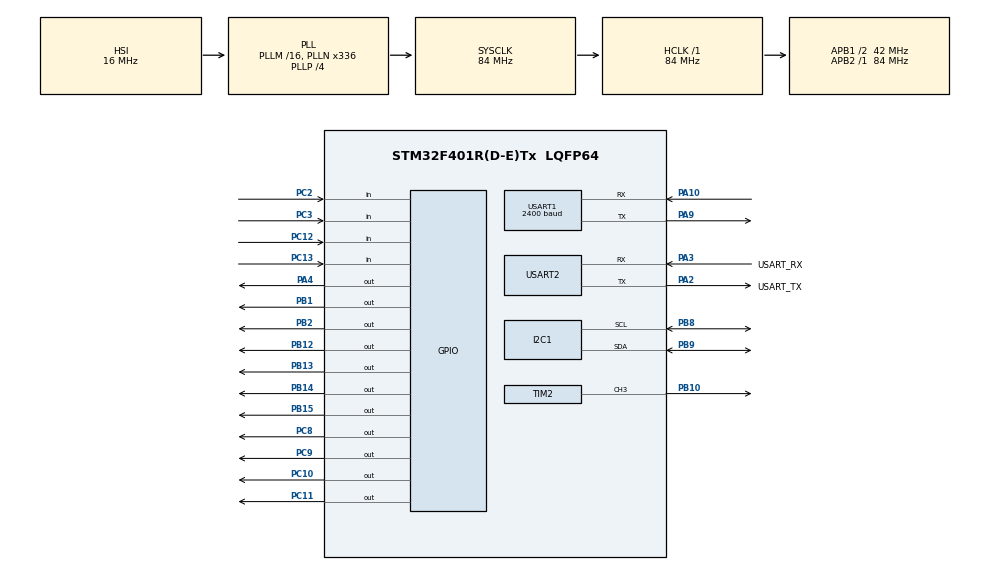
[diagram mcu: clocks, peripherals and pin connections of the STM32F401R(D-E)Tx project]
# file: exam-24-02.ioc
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Dma.I2C1_RX.1.Direction=DMA_PERIPH_TO_MEMORY
Dma.I2C1_RX.1.FIFOMode=DMA_FIFOMODE_DISABLE
Dma.I2C1_RX.1.Instance=DMA1_Stream0
Dma.I2C1_RX.1.MemDataAlignment=DMA_MDATAALIGN_BYTE
Dma.I2C1_RX.1.MemInc=DMA_MINC_ENABLE
Dma.I2C1_RX.1.Mode=DMA_NORMAL
Dma.I2C1_RX.1.PeriphDataAlignment=DMA_PDATAALIGN_BYTE
Dma.I2C1_RX.1.PeriphInc=DMA_PINC_DISABLE
Dma.I2C1_RX.1.Priority=DMA_PRIORITY_LOW
Dma.Request0=USART2_TX
Dma.Request1=I2C1_RX
Dma.USART2_TX.0.Direction=DMA_MEMORY_TO_PERIPH
Dma.USART2_TX.0.FIFOMode=DMA_FIFOMODE_DISABLE
Dma.USART2_TX.0.Instance=DMA1_Stream6
Dma.USART2_TX.0.MemDataAlignment=DMA_MDATAALIGN_BYTE
Dma.USART2_TX.0.MemInc=DMA_MINC_ENABLE
Dma.USART2_TX.0.Mode=DMA_NORMAL
Dma.USART2_TX.0.PeriphDataAlignment=DMA_PDATAALIGN_BYTE
Dma.USART2_TX.0.PeriphInc=DMA_PINC_DISABLE
Dma.USART2_TX.0.Priority=DMA_PRIORITY_LOW
Mcu.Family=STM32F4
Mcu.Name=STM32F401R(D-E)Tx
Mcu.Package=LQFP64
NVIC.DMA1_Stream0_IRQn=true\:0\:0\:false\:false\:true\:false\:true
NVIC.DMA1_Stream6_IRQn=true\:0\:0\:false\:false\:true\:false\:true
NVIC.I2C1_EV_IRQn=true\:0\:0\:true\:false\:true\:true\:true
NVIC.PriorityGroup=NVIC_PRIORITYGROUP_1
NVIC.TIM1_BRK_TIM9_IRQn=true\:0\:0\:false\:false\:true\:true\:true
NVIC.TIM1_TRG_COM_TIM11_IRQn=true\:0\:0\:false\:false\:true\:true\:true
NVIC.TIM1_UP_TIM10_IRQn=true\:0\:0\:false\:false\:true\:true\:true
NVIC.TIM2_IRQn=true\:0\:0\:false\:false\:true\:true\:true
NVIC.USART1_IRQn=true\:1\:0\:true\:false\:true\:true\:true
NVIC.USART2_IRQn=true\:0\:0\:false\:false\:true\:true\:true
PA10.Mode=Asynchronous
PA10.Signal=USART1_RX
PA13.GPIO_Label=TMS
PA13.Mode=Serial_Wire
PA13.Signal=SYS_JTMS-SWDIO
PA14.GPIO_Label=TCK
PA14.Mode=Serial_Wire
PA14.Signal=SYS_JTCK-SWCLK
PA2.GPIO_Label=USART_TX
PA2.GPIO_Mode=GPIO_MODE_AF_PP
PA2.GPIO_PuPd=GPIO_NOPULL
PA2.GPIO_Speed=GPIO_SPEED_FREQ_LOW
PA2.Mode=Asynchronous
PA2.Signal=USART2_TX
PA3.GPIO_Label=USART_RX
PA3.GPIO_Mode=GPIO_MODE_AF_PP
PA3.GPIO_PuPd=GPIO_NOPULL
PA3.GPIO_Speed=GPIO_SPEED_FREQ_LOW
PA3.Mode=Asynchronous
PA3.Signal=USART2_RX
PA4.Signal=GPIO_Output
PA9.Mode=Asynchronous
PA9.Signal=USART1_TX
PB1.Signal=GPIO_Output
PB10.Signal=S_TIM2_CH3
PB12.Signal=GPIO_Output
PB13.Signal=GPIO_Output
PB14.Signal=GPIO_Output
PB15.Signal=GPIO_Output
PB2.Signal=GPIO_Output
PB8.Mode=I2C
PB8.Signal=I2C1_SCL
PB9.Mode=I2C
PB9.Signal=I2C1_SDA
PC10.Signal=GPIO_Output
PC11.Signal=GPIO_Output
PC12.Signal=GPIO_Input
PC13-ANTI_TAMP.Signal=GPIO_Input
PC14-OSC32_IN.Mode=LSE-External-Oscillator
PC14-OSC32_IN.Signal=RCC_OSC32_IN
PC15-OSC32_OUT.Mode=LSE-External-Oscillator
PC15-OSC32_OUT.Signal=RCC_OSC32_OUT
PC2.Signal=GPIO_Input
PC3.Signal=GPIO_Input
PC8.Signal=GPIO_Output
PC9.Signal=GPIO_Output
PH0\ -\ OSC_IN.Mode=HSE-External-Clock-Source
PH0\ -\ OSC_IN.Signal=RCC_OSC_IN
PH1\ -\ OSC_OUT.Mode=HSE-External-Clock-Source
PH1\ -\ OSC_OUT.Signal=RCC_OSC_OUT
ProjectManager.HeapSize=0x200
ProjectManager.StackSize=0x400
ProjectManager.TargetToolchain=STM32CubeIDE
RCC.48MHZClocksFreq_Value=48000000
RCC.AHBFreq_Value=84000000
RCC.APB1CLKDivider=RCC_HCLK_DIV2
RCC.APB1Freq_Value=42000000
RCC.APB1TimFreq_Value=84000000
RCC.APB2Freq_Value=84000000
RCC.APB2TimFreq_Value=84000000
RCC.CortexFreq_Value=84000000
RCC.HCLKFreq_Value=84000000
RCC.HSE_VALUE=8000000
RCC.HSI_VALUE=16000000
RCC.PLLN=336
RCC.PLLP=RCC_PLLP_DIV4
RCC.PLLQ=7
RCC.SYSCLKFreq_VALUE=84000000
RCC.SYSCLKSource=RCC_SYSCLKSOURCE_PLLCLK
RCC.VCOOutputFreq_Value=336000000
SH.S_TIM2_CH3.0=TIM2_CH3,PWM Generation3 CH3
TIM1.Period=42000
TIM1.Prescaler=1000
TIM11.Period=1000-1
TIM11.Prescaler=35-1
TIM2.Channel-PWM\ Generation3\ CH3=TIM_CHANNEL_3
TIM2.Period=220-1
TIM2.Prescaler=10-1
TIM2.Pulse-PWM\ Generation3\ CH3=110
USART1.BaudRate=2400
USART1.VirtualMode=VM_ASYNC
USART2.VirtualMode=VM_ASYNC
VP_TIM11_VS_ClockSourceINT.Mode=Enable_Timer
VP_TIM1_VS_ClockSourceINT.Mode=Internal
VP_TIM2_VS_ClockSourceINT.Mode=Internal
board=NUCLEO-F401RE

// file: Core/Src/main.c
/* USER CODE BEGIN Header */
/**
 ******************************************************************************
 * @file           : main.c
 * @brief          : Main program body
 ******************************************************************************
 * @attention
 *
 * <h2><center>&copy; Copyright (c) 2021 STMicroelectronics.
 * All rights reserved.</center></h2>
 *
 * This software component is licensed by ST under BSD 3-Clause license,
 * the "License"; You may not use this file except in compliance with the
 * License. You may obtain a copy of the License at:
 *                        opensource.org/licenses/BSD-3-Clause
 *
 ******************************************************************************
 */
/* USER CODE END Header */
#include "main.h"

/* USER CODE BEGIN Includes */
#include "PMDB16_LCD.h"
/* USER CODE END Includes */

I2C_HandleTypeDef hi2c1;
DMA_HandleTypeDef hdma_i2c1_rx;

TIM_HandleTypeDef htim1;
TIM_HandleTypeDef htim2;
TIM_HandleTypeDef htim11;

UART_HandleTypeDef huart1;
UART_HandleTypeDef huart2;
DMA_HandleTypeDef hdma_usart2_tx;

/* USER CODE BEGIN PV */
char rcvd_str[64];
uint8_t tempAddr = 0b1001000 << 1;
uint8_t dataReg = 0x00; // register of the MSB of the data
uint8_t dataBuff[2]; // buffer for the temperature read
int dataToBeSent = 0;
float tempRecv;
float tempSampled;

//// TRANSMITTER PART
int iBit = 9; // starting in "don't send anything" mode
uint8_t byteToSend;
uint8_t sending = 0;

//// RECEIVER PART
char data;
/* USER CODE END PV */

void SystemClock_Config(void);
static void MX_GPIO_Init(void);
static void MX_USART2_UART_Init(void);
static void MX_TIM2_Init(void);
static void MX_TIM11_Init(void);
static void MX_USART1_UART_Init(void);
static void MX_DMA_Init(void);
static void MX_I2C1_Init(void);
static void MX_TIM1_Init(void);
/* USER CODE BEGIN PFP */

//// TRANSCEIVER
void sendString(char *str);
void sendByte(uint8_t byte);

HAL_StatusTypeDef sampleDMA(uint8_t *buf);
void sendSampleDMA(float temperature);

float convertToFloat(int8_t msb, uint8_t lsb);

/* USER CODE END PFP */

int main(void) {

	/* MCU Configuration--------------------------------------------------------*/

	/* Reset of all peripherals, Initializes the Flash interface and the Systick. */
	HAL_Init();

	/* Configure the system clock */
	SystemClock_Config();

	/* USER CODE BEGIN SysInit */
	MX_DMA_Init();
	/* USER CODE END SysInit */

	/* Initialize all configured peripherals */
	MX_GPIO_Init();
	MX_USART2_UART_Init();
	MX_TIM2_Init();
	MX_TIM11_Init();
	MX_USART1_UART_Init();
	MX_DMA_Init();
	MX_I2C1_Init();
	MX_TIM1_Init();
	/* USER CODE BEGIN 2 */
	// Tx: Starting the timer in order to send the data at the given baudrate
	HAL_TIM_Base_Start_IT(&htim11);

	//// Accelerometer: start timer to sample sensor
	HAL_TIM_Base_Start_IT(&htim1);

	HAL_UART_Receive_IT(&huart1, &tempRecv, sizeof(float));

	/* USER CODE END 2 */

	/* Infinite loop */
	/* USER CODE BEGIN WHILE */
	// LCD
	lcd_initialize();
	lcd_backlight_ON();

	while (1) {
		// scans all the keyboard
		//scanKeyboard();
		if (dataToBeSent) {
			sendSampleDMA(tempSampled);
			dataToBeSent = 0;
		}
		/* USER CODE END WHILE */

	}
}

void SystemClock_Config(void) {
	RCC_OscInitTypeDef RCC_OscInitStruct = { 0 };
	RCC_ClkInitTypeDef RCC_ClkInitStruct = { 0 };

	/** Configure the main internal regulator output voltage
	 */
	__HAL_RCC_PWR_CLK_ENABLE();
	__HAL_PWR_VOLTAGESCALING_CONFIG(PWR_REGULATOR_VOLTAGE_SCALE2);
	/** Initializes the RCC Oscillators according to the specified parameters
	 * in the RCC_OscInitTypeDef structure.
	 */
	RCC_OscInitStruct.OscillatorType = RCC_OSCILLATORTYPE_HSI;
	RCC_OscInitStruct.HSIState = RCC_HSI_ON;
	RCC_OscInitStruct.HSICalibrationValue = RCC_HSICALIBRATION_DEFAULT;
	RCC_OscInitStruct.PLL.PLLState = RCC_PLL_ON;
	RCC_OscInitStruct.PLL.PLLSource = RCC_PLLSOURCE_HSI;
	RCC_OscInitStruct.PLL.PLLM = 16;
	RCC_OscInitStruct.PLL.PLLN = 336;
	RCC_OscInitStruct.PLL.PLLP = RCC_PLLP_DIV4;
	RCC_OscInitStruct.PLL.PLLQ = 7;
	if (HAL_RCC_OscConfig(&RCC_OscInitStruct) != HAL_OK) {
		Error_Handler();
	}
	/** Initializes the CPU, AHB and APB buses clocks
	 */
	RCC_ClkInitStruct.ClockType = RCC_CLOCKTYPE_HCLK | RCC_CLOCKTYPE_SYSCLK
			| RCC_CLOCKTYPE_PCLK1 | RCC_CLOCKTYPE_PCLK2;
	RCC_ClkInitStruct.SYSCLKSource = RCC_SYSCLKSOURCE_PLLCLK;
	RCC_ClkInitStruct.AHBCLKDivider = RCC_SYSCLK_DIV1;
	RCC_ClkInitStruct.APB1CLKDivider = RCC_HCLK_DIV2;
	RCC_ClkInitStruct.APB2CLKDivider = RCC_HCLK_DIV1;

	if (HAL_RCC_ClockConfig(&RCC_ClkInitStruct, FLASH_LATENCY_2) != HAL_OK) {
		Error_Handler();
	}
}

static void MX_I2C1_Init(void) {

	hi2c1.Instance = I2C1;
	hi2c1.Init.ClockSpeed = 100000;
	hi2c1.Init.DutyCycle = I2C_DUTYCYCLE_2;
	hi2c1.Init.OwnAddress1 = 0;
	hi2c1.Init.AddressingMode = I2C_ADDRESSINGMODE_7BIT;
	hi2c1.Init.DualAddressMode = I2C_DUALADDRESS_DISABLE;
	hi2c1.Init.OwnAddress2 = 0;
	hi2c1.Init.GeneralCallMode = I2C_GENERALCALL_DISABLE;
	hi2c1.Init.NoStretchMode = I2C_NOSTRETCH_DISABLE;
	if (HAL_I2C_Init(&hi2c1) != HAL_OK) {
		Error_Handler();
	}

}

static void MX_TIM1_Init(void) {

	TIM_ClockConfigTypeDef sClockSourceConfig = { 0 };
	TIM_MasterConfigTypeDef sMasterConfig = { 0 };

	htim1.Instance = TIM1;
	htim1.Init.Prescaler = 1000;
	htim1.Init.CounterMode = TIM_COUNTERMODE_UP;
	htim1.Init.Period = 42000;
	htim1.Init.ClockDivision = TIM_CLOCKDIVISION_DIV1;
	htim1.Init.RepetitionCounter = 0;
	htim1.Init.AutoReloadPreload = TIM_AUTORELOAD_PRELOAD_DISABLE;
	if (HAL_TIM_Base_Init(&htim1) != HAL_OK) {
		Error_Handler();
	}
	sClockSourceConfig.ClockSource = TIM_CLOCKSOURCE_INTERNAL;
	if (HAL_TIM_ConfigClockSource(&htim1, &sClockSourceConfig) != HAL_OK) {
		Error_Handler();
	}
	sMasterConfig.MasterOutputTrigger = TIM_TRGO_RESET;
	sMasterConfig.MasterSlaveMode = TIM_MASTERSLAVEMODE_DISABLE;
	if (HAL_TIMEx_MasterConfigSynchronization(&htim1, &sMasterConfig)
			!= HAL_OK) {
		Error_Handler();
	}

}

static void MX_TIM2_Init(void) {

	TIM_ClockConfigTypeDef sClockSourceConfig = { 0 };
	TIM_MasterConfigTypeDef sMasterConfig = { 0 };
	TIM_OC_InitTypeDef sConfigOC = { 0 };

	htim2.Instance = TIM2;
	htim2.Init.Prescaler = 10 - 1;
	htim2.Init.CounterMode = TIM_COUNTERMODE_UP;
	htim2.Init.Period = 220 - 1;
	htim2.Init.ClockDivision = TIM_CLOCKDIVISION_DIV1;
	htim2.Init.AutoReloadPreload = TIM_AUTORELOAD_PRELOAD_DISABLE;
	if (HAL_TIM_Base_Init(&htim2) != HAL_OK) {
		Error_Handler();
	}
	sClockSourceConfig.ClockSource = TIM_CLOCKSOURCE_INTERNAL;
	if (HAL_TIM_ConfigClockSource(&htim2, &sClockSourceConfig) != HAL_OK) {
		Error_Handler();
	}
	if (HAL_TIM_PWM_Init(&htim2) != HAL_OK) {
		Error_Handler();
	}
	sMasterConfig.MasterOutputTrigger = TIM_TRGO_RESET;
	sMasterConfig.MasterSlaveMode = TIM_MASTERSLAVEMODE_DISABLE;
	if (HAL_TIMEx_MasterConfigSynchronization(&htim2, &sMasterConfig)
			!= HAL_OK) {
		Error_Handler();
	}
	sConfigOC.OCMode = TIM_OCMODE_PWM1;
	sConfigOC.Pulse = 110;
	sConfigOC.OCPolarity = TIM_OCPOLARITY_HIGH;
	sConfigOC.OCFastMode = TIM_OCFAST_DISABLE;
	if (HAL_TIM_PWM_ConfigChannel(&htim2, &sConfigOC, TIM_CHANNEL_3)
			!= HAL_OK) {
		Error_Handler();
	}
	HAL_TIM_MspPostInit(&htim2);

}

static void MX_TIM11_Init(void) {

	htim11.Instance = TIM11;
	htim11.Init.Prescaler = 35 - 1;
	htim11.Init.CounterMode = TIM_COUNTERMODE_UP;
	htim11.Init.Period = 1000 - 1;
	htim11.Init.ClockDivision = TIM_CLOCKDIVISION_DIV1;
	htim11.Init.AutoReloadPreload = TIM_AUTORELOAD_PRELOAD_DISABLE;
	if (HAL_TIM_Base_Init(&htim11) != HAL_OK) {
		Error_Handler();
	}

}

static void MX_USART1_UART_Init(void) {

	huart1.Instance = USART1;
	huart1.Init.BaudRate = 2400;
	huart1.Init.WordLength = UART_WORDLENGTH_8B;
	huart1.Init.StopBits = UART_STOPBITS_1;
	huart1.Init.Parity = UART_PARITY_NONE;
	huart1.Init.Mode = UART_MODE_TX_RX;
	huart1.Init.HwFlowCtl = UART_HWCONTROL_NONE;
	huart1.Init.OverSampling = UART_OVERSAMPLING_16;
	if (HAL_UART_Init(&huart1) != HAL_OK) {
		Error_Handler();
	}

}

static void MX_USART2_UART_Init(void) {

	huart2.Instance = USART2;
	huart2.Init.BaudRate = 115200;
	huart2.Init.WordLength = UART_WORDLENGTH_8B;
	huart2.Init.StopBits = UART_STOPBITS_1;
	huart2.Init.Parity = UART_PARITY_NONE;
	huart2.Init.Mode = UART_MODE_TX_RX;
	huart2.Init.HwFlowCtl = UART_HWCONTROL_NONE;
	huart2.Init.OverSampling = UART_OVERSAMPLING_16;
	if (HAL_UART_Init(&huart2) != HAL_OK) {
		Error_Handler();
	}

}

static void MX_DMA_Init(void) {

	/* DMA controller clock enable */
	__HAL_RCC_DMA1_CLK_ENABLE();

	/* DMA interrupt init */
	/* DMA1_Stream0_IRQn interrupt configuration */
	HAL_NVIC_SetPriority(DMA1_Stream0_IRQn, 0, 0);
	HAL_NVIC_EnableIRQ(DMA1_Stream0_IRQn);
	/* DMA1_Stream6_IRQn interrupt configuration */
	HAL_NVIC_SetPriority(DMA1_Stream6_IRQn, 0, 0);
	HAL_NVIC_EnableIRQ(DMA1_Stream6_IRQn);

}

static void MX_GPIO_Init(void) {
	GPIO_InitTypeDef GPIO_InitStruct = { 0 };

	/* GPIO Ports Clock Enable */
	__HAL_RCC_GPIOC_CLK_ENABLE();
	__HAL_RCC_GPIOH_CLK_ENABLE();
	__HAL_RCC_GPIOA_CLK_ENABLE();
	__HAL_RCC_GPIOB_CLK_ENABLE();

	/*Configure GPIO pin Output Level */
	HAL_GPIO_WritePin(GPIOA, GPIO_PIN_4, GPIO_PIN_RESET);

	/*Configure GPIO pin Output Level */
	HAL_GPIO_WritePin(GPIOB,
			GPIO_PIN_1 | GPIO_PIN_2 | GPIO_PIN_12 | GPIO_PIN_13 | GPIO_PIN_14
					| GPIO_PIN_15, GPIO_PIN_RESET);

	/*Configure GPIO pin Output Level */
	HAL_GPIO_WritePin(GPIOC,
			GPIO_PIN_8 | GPIO_PIN_9 | GPIO_PIN_10 | GPIO_PIN_11,
			GPIO_PIN_RESET);

	/*Configure GPIO pins : PC13 PC2 PC3 PC12 */
	GPIO_InitStruct.Pin = GPIO_PIN_13 | GPIO_PIN_2 | GPIO_PIN_3 | GPIO_PIN_12;
	GPIO_InitStruct.Mode = GPIO_MODE_INPUT;
	GPIO_InitStruct.Pull = GPIO_NOPULL;
	HAL_GPIO_Init(GPIOC, &GPIO_InitStruct);

	/*Configure GPIO pin : PA4 */
	GPIO_InitStruct.Pin = GPIO_PIN_4;
	GPIO_InitStruct.Mode = GPIO_MODE_OUTPUT_PP;
	GPIO_InitStruct.Pull = GPIO_NOPULL;
	GPIO_InitStruct.Speed = GPIO_SPEED_FREQ_LOW;
	HAL_GPIO_Init(GPIOA, &GPIO_InitStruct);

	/*Configure GPIO pins : PB1 PB2 PB12 PB13
	 PB14 PB15 */
	GPIO_InitStruct.Pin = GPIO_PIN_1 | GPIO_PIN_2 | GPIO_PIN_12 | GPIO_PIN_13
			| GPIO_PIN_14 | GPIO_PIN_15;
	GPIO_InitStruct.Mode = GPIO_MODE_OUTPUT_PP;
	GPIO_InitStruct.Pull = GPIO_NOPULL;
	GPIO_InitStruct.Speed = GPIO_SPEED_FREQ_LOW;
	HAL_GPIO_Init(GPIOB, &GPIO_InitStruct);

	/*Configure GPIO pins : PC8 PC9 PC10 PC11 */
	GPIO_InitStruct.Pin = GPIO_PIN_8 | GPIO_PIN_9 | GPIO_PIN_10 | GPIO_PIN_11;
	GPIO_InitStruct.Mode = GPIO_MODE_OUTPUT_PP;
	GPIO_InitStruct.Pull = GPIO_NOPULL;
	GPIO_InitStruct.Speed = GPIO_SPEED_FREQ_LOW;
	HAL_GPIO_Init(GPIOC, &GPIO_InitStruct);

}

/* USER CODE BEGIN 4 */
/**
 * @brief Tx: calls the sendByte function for each char of the string
 */
void sendString(char *str) {
	for (int i = 0; i < strlen(str); i++) {
		sendByte(str[i]);
	}
}

/**
 * @brief Tx: waits until the previous byte is sent;
 * then sets the new byte to send, resets the index to read the bit and
 * sets the flag "sending" to true
 */
void sendByte(uint8_t byte) {
	// wait to finish the sending of the previous byte (in callback of TIM11)
	while (sending)
		;

	// set next byte to send and "start" the sending
	byteToSend = byte;
	iBit = -1;
	sending = 1;
}

/**
 * @brief implements the UART protocol:
 * - sends the start bit (modulates);
 * - for each bit, if it is low modulates, otherwise led stays down;
 * - sends the stop bit (led stays down);
 * - at the next cycle resets the "sending" flag;
 */
void HAL_TIM_PeriodElapsedCallback(TIM_HandleTypeDef *htim) {
	if (htim == &htim11) {
		// Implementing the UART protocol
		if (iBit == -1) {
			// START BIT
			HAL_TIM_PWM_Start(&htim2, TIM_CHANNEL_3);
		} else if (iBit < 8) {
			// SENDING BYTE
			if (byteToSend & (1 << iBit)) {
				// if bit is 1, do not modulate [stay on zero]
				HAL_TIM_PWM_Stop(&htim2, TIM_CHANNEL_3);
			} else {
				// if bit is 0, modulate
				HAL_TIM_PWM_Start(&htim2, TIM_CHANNEL_3);
			}
		} else if (iBit == 8) {
			// STOP BIT
			HAL_TIM_PWM_Stop(&htim2, TIM_CHANNEL_3);
		} else {
			sending = 0;
			return;
		}

		iBit++;
	} else if (htim == &htim1) {
		// temperature sampling
		if (HAL_I2C_Master_Receive(&hi2c1, tempAddr | 1, dataBuff, 2, 1000)
				== HAL_OK) {

			// converting the data received into a temperature
			tempSampled = convertToFloat(dataBuff[0], dataBuff[1]);

			// forging string to send
			unsigned char string[64];
			int len = sprintf(string, "Temp: %.3f Celsius\r\n", tempSampled);

			// transmitting the forged string with our data back on the serial
			HAL_UART_Transmit(&huart2, string, len, 1000);
			dataToBeSent = 1;
		}
	}
}

//// RECEIVER PART
/**
 * @brief transmit the received char to the UART connected to the PC
 */
void HAL_UART_RxCpltCallback(UART_HandleTypeDef *huart) {
	if (huart == &huart1) {
		// CODE WE WANT TO EXECUTE WHEN WE RECEIVE
		char tempstr[16];

		sprintf(tempstr, "Temp: %+.2f", tempRecv);
		lcd_println(tempstr, 0);

		/*sprintf(rcvd_str, "rcvd: X: %+.3f\tY: %+.3f\tZ: %+.3f\r\n",
		 accel_rcv.acc_x, accel_rcv.acc_y, accel_rcv.acc_z);
		 HAL_UART_Transmit_DMA(&huart2, rcvd_str, strlen(rcvd_str));*/
		HAL_UART_Receive_IT(&huart1, &tempRecv, sizeof(float));
	}
}

/**
 * @brief samples the accelerometer in DMA mode.
 * In this case it's only a wrapper to the readRegDMA but it's kept anyway in order to keep the same structure and have a easily understandable code
 * @param accelData the structure to update
 * @return HAL_OK if new data has been sampled, HAL_ERROR otherwise
 */
HAL_StatusTypeDef sampleDMA(uint8_t *buf) {
	// sampling values from X to Z register included
	return readRegDMA(0x0, buf, 5);
}

/**
 * @brief prints over the serial communication the sample passed in DMA mode
 * @param accelData the structure to print
 */
void sendSampleDMA(float temperature) {
	// send it over IR communication
	uint8_t *x = (uint8_t*) &temperature;
	for (int i = 0; i < sizeof(float); i++) {
		sendByte(x[i]);
	}
}

/**
 * @brief function that converts two bytes in a float value
 * @param msb most significant bit of the temperature value
 * @param lsb least significant bit of the temperature value
 */
float convertToFloat(int8_t msb, uint8_t lsb) {
	// "concatenates" the two bytes and then divides them by 2^(decimal places), that is 256
	return ((float) (((int16_t) (msb) << 8) | lsb)) / 256.0;
}
/* USER CODE END 4 */

void Error_Handler(void) {
	__disable_irq();
	while (1) {
	}
}

/************************ (C) COPYRIGHT STMicroelectronics *****END OF FILE****/
